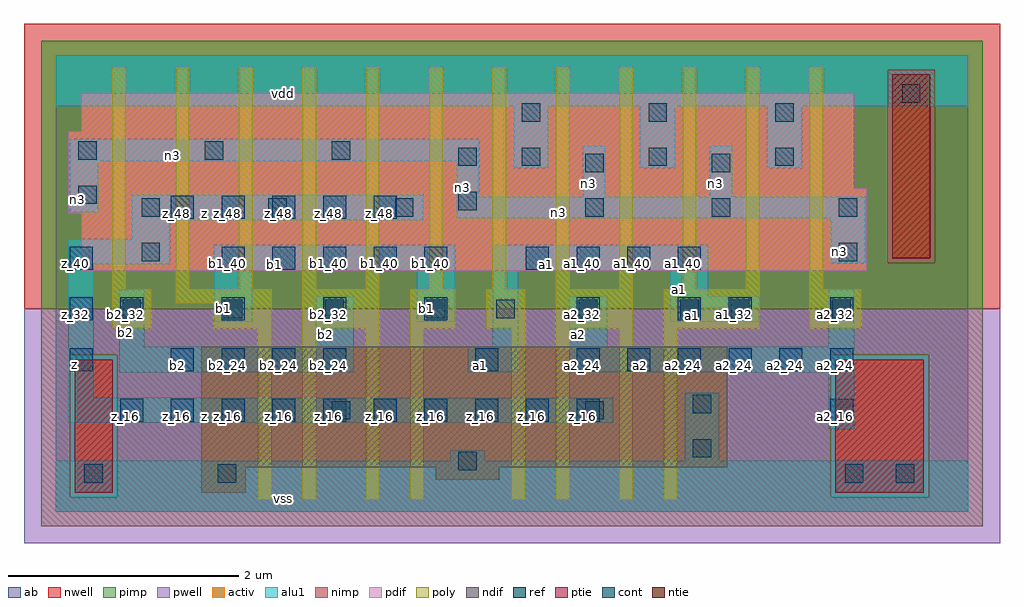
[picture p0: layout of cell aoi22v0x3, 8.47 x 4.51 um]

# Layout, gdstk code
import gdstk
lib = gdstk.Library(unit=1e-6, precision=2.5e-09)
def R(c, l, rs):  # rectangles x0, y0, x1, y1
    for r in rs: c.add(gdstk.rectangle(r[:2], r[2:], *l))
def A(c, l, x, y, w, h, nx, ny, dx, dy):  # array of equal rectangles
    R(c, l, [(x+i*dx, y+j*dy, x+i*dx+w, y+j*dy+h) for i in range(nx) for j in range(ny)])
ndif = (3, 0)
pdif = (4, 0)
ntie = (5, 0)
ptie = (6, 0)
ref = (24, 0)
cont = (25, 0)
pwell = (41, 0)
nwell = (42, 0)
activ = (43, 0)
pimp = (44, 0)
nimp = (45, 0)
poly = (46, 0)
alu1 = (49, 0)
ab = (63, 0)

aoi22v0x3 = lib.new_cell('aoi22v0x3')
R(aoi22v0x3, ndif, [(1.265,0.165,1.65,0.385), (3.3,0.275,3.85,0.385), (1.265,0.385,5.83,1.43)])
R(aoi22v0x3, pdif, [(0.22,2.09,7.04,2.585), (0.11,2.585,7.04,2.805), (0.11,2.805,6.93,3.3), (0.22,3.3,6.93,3.63)])
R(aoi22v0x3, ntie, [(7.26,2.2,7.59,3.795)])
R(aoi22v0x3, ptie, [(0.165,0.165,0.495,1.32), (6.765,0.165,7.535,1.32)])
A(aoi22v0x3, ref, 0.56, 0.78, 0.2, 0.2, 10, 1, 0.44, 0)
A(aoi22v0x3, ref, 0.12, 1.22, 0.2, 0.2, 1, 3, 0, 0.44)
A(aoi22v0x3, ref, 1, 1.22, 0.2, 0.2, 4, 1, 0.44, 0)
A(aoi22v0x3, ref, 4.52, 1.22, 0.2, 0.2, 6, 1, 0.44, 0)
A(aoi22v0x3, ref, 0.56, 1.66, 0.2, 0.2, 4, 1, 0.88, 0)
A(aoi22v0x3, ref, 1.44, 2.1, 0.2, 0.2, 5, 1, 0.44, 0)
A(aoi22v0x3, ref, 4.08, 2.1, 0.2, 0.2, 4, 1, 0.44, 0)
A(aoi22v0x3, ref, 1, 2.54, 0.2, 0.2, 5, 1, 0.44, 0)
R(aoi22v0x3, ref, [(6.72,0.78,6.92,0.98), (3.64,1.22,3.84,1.42), (4.52,1.66,4.72,1.86), (5.4,1.66,5.6,1.86), (5.84,1.66,6.04,1.86), (6.72,1.66,6.92,1.86)])
A(aoi22v0x3, cont, 0.58, 1.68, 0.16, 0.16, 4, 1, 0.88, 0)
A(aoi22v0x3, cont, 0.745, 2.56, 0.16, 0.16, 3, 1, 1.1, 0)
A(aoi22v0x3, cont, 4.595, 2.56, 0.16, 0.16, 3, 1, 1.1, 0)
A(aoi22v0x3, cont, 4.045, 3, 0.16, 0.16, 3, 2, 1.1, 0.385)
A(aoi22v0x3, cont, 0.195, 3.055, 0.16, 0.16, 3, 1, 1.1, 0)
R(aoi22v0x3, cont, [(0.25,0.25,0.41,0.41), (1.405,0.25,1.565,0.41), (6.85,0.25,7.01,0.41), (7.29,0.25,7.45,0.41), (3.495,0.36,3.655,0.52), (5.53,0.47,5.69,0.63), (2.395,0.8,2.555,0.96), (4.595,0.8,4.755,0.96), (5.53,0.855,5.69,1.015), (3.825,1.68,3.985,1.84), (4.54,1.68,4.7,1.84), (5.42,1.68,5.58,1.84), (5.86,1.68,6.02,1.84), (6.74,1.68,6.9,1.84), (0.745,2.175,0.905,2.335), (6.795,2.175,6.955,2.335), (3.495,2.615,3.655,2.775), (0.195,2.67,0.355,2.83), (4.595,2.945,4.755,3.105), (5.695,2.945,5.855,3.105), (3.495,3,3.655,3.16), (7.345,3.55,7.505,3.71)])
R(aoi22v0x3, pwell, [(-0.275,-0.275,8.195,1.76)])
R(aoi22v0x3, nwell, [(-0.275,1.76,8.195,4.235)])
R(aoi22v0x3, activ, [(0.165,0.165,0.495,1.32), (1.265,0.165,1.65,0.385), (6.765,0.165,7.535,1.32), (3.3,0.275,3.85,0.385), (1.265,0.385,5.83,1.43), (0.22,2.09,7.04,2.585), (7.26,2.2,7.59,3.795), (0.11,2.585,7.04,2.805), (0.11,2.805,6.93,3.3), (0.22,3.3,6.93,3.63)])
R(aoi22v0x3, pimp, [(0.125,0.125,0.535,1.36), (6.725,0.125,7.575,1.36), (-0.125,1.76,8.045,2.16), (-0.125,2.16,7.22,3.835), (7.63,2.16,8.045,3.835), (-0.125,3.835,8.045,4.085)])
R(aoi22v0x3, nimp, [(-0.125,-0.125,8.045,0.125), (-0.125,0.125,0.125,1.36), (0.535,0.125,6.725,1.36), (7.575,0.125,8.045,1.36), (-0.125,1.36,8.045,1.76), (7.22,2.16,7.63,3.835)])
A(aoi22v0x3, poly, 0.49, 1.93, 0.12, 1.925, 12, 1, 0.55, 0)
R(aoi22v0x3, poly, [(1.755,0.105,1.875,1.59), (2.14,0.105,2.26,1.59), (2.69,0.105,2.81,1.59), (3.075,0.105,3.195,1.59), (3.955,0.105,4.075,1.59), (4.34,0.105,4.46,1.59), (4.89,0.105,5.01,1.59), (5.275,0.105,5.395,1.59), (0.49,1.59,0.83,1.93), (1.37,1.59,1.875,1.81), (2.14,1.59,2.81,1.93), (3.075,1.59,3.47,1.93), (3.735,1.59,4.075,1.93), (4.34,1.59,5.01,1.93), (5.275,1.59,6.11,1.93), (6.54,1.59,6.99,1.93), (1.04,1.81,1.875,1.93)])
A(aoi22v0x3, alu1, 3.975, 2.985, 0.3, 0.535, 3, 1, 1.1, 0)
R(aoi22v0x3, alu1, [(0,0,7.92,0.44), (3.425,0.44,3.725,0.535), (5.46,0.44,5.76,1.03), (6.71,0.715,6.93,1.21), (0.11,0.77,4.84,0.99), (0.11,0.99,0.33,2.145), (0.55,1.21,2.585,1.43), (3.575,1.21,4.015,1.43), (4.455,1.21,6.93,1.43), (0.55,1.43,0.77,1.925), (2.255,1.43,2.585,1.87), (3.795,1.43,4.015,2.09), (4.455,1.43,4.785,1.87), (6.71,1.43,6.93,1.925), (1.375,1.65,1.705,2.09), (3.135,1.65,3.465,2.09), (5.335,1.65,6.105,1.87), (5.335,1.87,5.665,2.09), (1.375,2.09,3.465,2.31), (3.795,2.09,5.665,2.31), (0.11,2.145,0.99,2.365), (6.725,2.16,7.025,2.545), (0.66,2.365,0.99,2.53), (0.66,2.53,3.19,2.75), (3.48,2.545,7.025,2.735), (0.125,2.6,0.37,3.04), (3.48,2.735,3.67,3.04), (4.58,2.735,4.77,3.175), (5.68,2.735,5.87,3.175), (0.125,3.04,3.67,3.23), (0,3.52,7.92,3.96)])
R(aoi22v0x3, ab, [(0,0,7.92,3.96)])
aoi22v0x3.add(gdstk.Label('vss', (1.98,0.11), layer=49, texttype=0))
aoi22v0x3.add(gdstk.Label('z', (1.2925,0.825), layer=49, texttype=0))
aoi22v0x3.add(gdstk.Label('a2', (5.0725,1.265), layer=49, texttype=0))
aoi22v0x3.add(gdstk.Label('a1', (5.5275,1.705), layer=49, texttype=0))
aoi22v0x3.add(gdstk.Label('a2', (4.5375,1.54), layer=49, texttype=0))
aoi22v0x3.add(gdstk.Label('a1', (3.685,1.265), layer=49, texttype=0))
aoi22v0x3.add(gdstk.Label('b2', (1.0575,1.265), layer=49, texttype=0))
aoi22v0x3.add(gdstk.Label('a1', (5.4175,1.925), layer=49, texttype=0))
aoi22v0x3.add(gdstk.Label('n3', (6.8,2.255), layer=49, texttype=0))
aoi22v0x3.add(gdstk.Label('a1', (4.2625,2.145), layer=49, texttype=0))
aoi22v0x3.add(gdstk.Label('b1', (3.2175,1.76), layer=49, texttype=0))
aoi22v0x3.add(gdstk.Label('b2', (2.3375,1.54), layer=49, texttype=0))
aoi22v0x3.add(gdstk.Label('b1', (1.4575,1.76), layer=49, texttype=0))
aoi22v0x3.add(gdstk.Label('b2', (0.605,1.5525), layer=49, texttype=0))
aoi22v0x3.add(gdstk.Label('b1', (1.8975,2.145), layer=49, texttype=0))
aoi22v0x3.add(gdstk.Label('z', (0.165,1.2775), layer=49, texttype=0))
aoi22v0x3.add(gdstk.Label('n3', (4.365,2.5925), layer=49, texttype=0))
aoi22v0x3.add(gdstk.Label('n3', (5.7275,2.845), layer=49, texttype=0))
aoi22v0x3.add(gdstk.Label('n3', (4.6275,2.845), layer=49, texttype=0))
aoi22v0x3.add(gdstk.Label('n3', (3.5275,2.81), layer=49, texttype=0))
aoi22v0x3.add(gdstk.Label('z', (1.2925,2.585), layer=49, texttype=0))
aoi22v0x3.add(gdstk.Label('n3', (0.185,2.71), layer=49, texttype=0))
aoi22v0x3.add(gdstk.Label('n3', (1.01,3.0875), layer=49, texttype=0))
aoi22v0x3.add(gdstk.Label('vdd', (1.98,3.63), layer=49, texttype=0))
aoi22v0x3.add(gdstk.Label('a2_24', (5.45,1.27), layer=24, texttype=0))
aoi22v0x3.add(gdstk.Label('a1_32', (5.45,1.71), layer=24, texttype=0))
aoi22v0x3.add(gdstk.Label('a1_40', (5.45,2.15), layer=24, texttype=0))
aoi22v0x3.add(gdstk.Label('a2_24', (5.89,1.27), layer=24, texttype=0))
aoi22v0x3.add(gdstk.Label('a1_32', (5.89,1.71), layer=24, texttype=0))
aoi22v0x3.add(gdstk.Label('a2_24', (6.33,1.27), layer=24, texttype=0))
aoi22v0x3.add(gdstk.Label('z_16', (0.61,0.83), layer=24, texttype=0))
aoi22v0x3.add(gdstk.Label('b2_32', (0.61,1.71), layer=24, texttype=0))
aoi22v0x3.add(gdstk.Label('a2_16', (6.77,0.83), layer=24, texttype=0))
aoi22v0x3.add(gdstk.Label('a2_24', (6.77,1.27), layer=24, texttype=0))
aoi22v0x3.add(gdstk.Label('a2_32', (6.77,1.71), layer=24, texttype=0))
aoi22v0x3.add(gdstk.Label('z_16', (1.05,0.83), layer=24, texttype=0))
aoi22v0x3.add(gdstk.Label('b2_24', (1.05,1.27), layer=24, texttype=0))
aoi22v0x3.add(gdstk.Label('z_48', (1.05,2.59), layer=24, texttype=0))
aoi22v0x3.add(gdstk.Label('z_16', (1.49,0.83), layer=24, texttype=0))
aoi22v0x3.add(gdstk.Label('b2_24', (1.49,1.27), layer=24, texttype=0))
aoi22v0x3.add(gdstk.Label('b1_32', (1.49,1.71), layer=24, texttype=0))
aoi22v0x3.add(gdstk.Label('b1_40', (1.49,2.15), layer=24, texttype=0))
aoi22v0x3.add(gdstk.Label('z_48', (1.49,2.59), layer=24, texttype=0))
aoi22v0x3.add(gdstk.Label('z_16', (1.93,0.83), layer=24, texttype=0))
aoi22v0x3.add(gdstk.Label('b2_24', (1.93,1.27), layer=24, texttype=0))
aoi22v0x3.add(gdstk.Label('b1_40', (1.93,2.15), layer=24, texttype=0))
aoi22v0x3.add(gdstk.Label('z_48', (1.93,2.59), layer=24, texttype=0))
aoi22v0x3.add(gdstk.Label('z_24', (0.17,1.27), layer=24, texttype=0))
aoi22v0x3.add(gdstk.Label('z_32', (0.17,1.71), layer=24, texttype=0))
aoi22v0x3.add(gdstk.Label('z_40', (0.17,2.15), layer=24, texttype=0))
aoi22v0x3.add(gdstk.Label('z_16', (2.37,0.83), layer=24, texttype=0))
aoi22v0x3.add(gdstk.Label('b2_24', (2.37,1.27), layer=24, texttype=0))
aoi22v0x3.add(gdstk.Label('b2_32', (2.37,1.71), layer=24, texttype=0))
aoi22v0x3.add(gdstk.Label('b1_40', (2.37,2.15), layer=24, texttype=0))
aoi22v0x3.add(gdstk.Label('z_48', (2.37,2.59), layer=24, texttype=0))
aoi22v0x3.add(gdstk.Label('z_16', (2.81,0.83), layer=24, texttype=0))
aoi22v0x3.add(gdstk.Label('b1_40', (2.81,2.15), layer=24, texttype=0))
aoi22v0x3.add(gdstk.Label('z_48', (2.81,2.59), layer=24, texttype=0))
aoi22v0x3.add(gdstk.Label('z_16', (3.25,0.83), layer=24, texttype=0))
aoi22v0x3.add(gdstk.Label('b1_32', (3.25,1.71), layer=24, texttype=0))
aoi22v0x3.add(gdstk.Label('b1_40', (3.25,2.15), layer=24, texttype=0))
aoi22v0x3.add(gdstk.Label('z_16', (3.69,0.83), layer=24, texttype=0))
aoi22v0x3.add(gdstk.Label('a1_24', (3.69,1.27), layer=24, texttype=0))
aoi22v0x3.add(gdstk.Label('z_16', (4.13,0.83), layer=24, texttype=0))
aoi22v0x3.add(gdstk.Label('a1_40', (4.13,2.15), layer=24, texttype=0))
aoi22v0x3.add(gdstk.Label('z_16', (4.57,0.83), layer=24, texttype=0))
aoi22v0x3.add(gdstk.Label('a2_24', (4.57,1.27), layer=24, texttype=0))
aoi22v0x3.add(gdstk.Label('a2_32', (4.57,1.71), layer=24, texttype=0))
aoi22v0x3.add(gdstk.Label('a1_40', (4.57,2.15), layer=24, texttype=0))
aoi22v0x3.add(gdstk.Label('a2_24', (5.01,1.27), layer=24, texttype=0))
aoi22v0x3.add(gdstk.Label('a1_40', (5.01,2.15), layer=24, texttype=0))

lib.write_gds('aoi22v0x3.gds')
